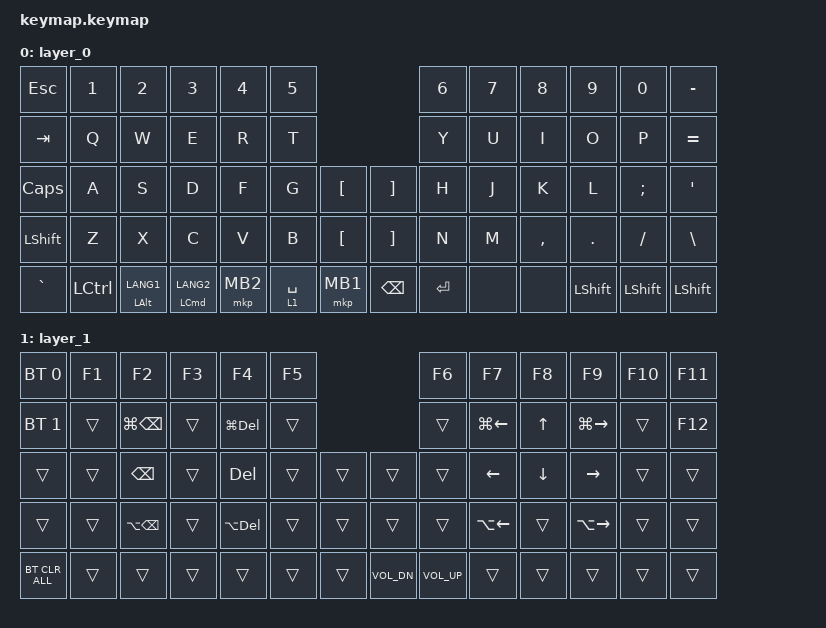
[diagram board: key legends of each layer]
#include <behaviors.dtsi>
#include <dt-bindings/zmk/bt.h>
#include <dt-bindings/zmk/keys.h>
#include <dt-bindings/zmk/pointing.h>

/ {
    combos {
        compatible = "zmk,combos";

        bt_clear {
            bindings = <&bt BT_CLR>;
            key-positions = <28 29>;
        };
    };

    keymap {
        compatible = "zmk,keymap";

        layer_0 {
            bindings = <
&kp ESC    &kp N1     &kp N2              &kp N3                  &kp N4    &kp N5                                            &kp N6     &kp N7  &kp N8     &kp N9          &kp N0          &kp MINUS
&kp TAB    &kp Q      &kp W               &kp E                   &kp R     &kp T                                             &kp Y      &kp U   &kp I      &kp O           &kp P           &kp EQUAL
&kp CAPS   &kp A      &kp S               &kp D                   &kp F     &kp G        &kp LEFT_BRACKET  &kp RIGHT_BRACKET  &kp H      &kp J   &kp K      &kp L           &kp SEMI        &kp SQT
&kp LSHFT  &kp Z      &kp X               &kp C                   &kp V     &kp B        &kp LEFT_BRACKET  &kp RIGHT_BRACKET  &kp N      &kp M   &kp COMMA  &kp DOT         &kp SLASH       &kp BACKSLASH
&kp GRAVE  &kp LCTRL  &mt LEFT_ALT LANG1  &mt LEFT_COMMAND LANG2  &mkp MB2  &lt 1 SPACE  &mkp MB1          &kp BACKSPACE      &kp ENTER  &none   &none      &kp LEFT_SHIFT  &kp LEFT_SHIFT  &kp LEFT_SHIFT
            >;
        };

        layer_1 {
            bindings = <
&bt BT_SEL 0    &kp F1  &kp F2             &kp F3  &kp F4       &kp F5                        &kp F6        &kp F7              &kp F8          &kp F9               &kp F10  &kp F11
&bt BT_SEL 1    &trans  &kp LG(BACKSPACE)  &trans  &kp LG(DEL)  &trans                        &trans        &kp LG(LEFT_ARROW)  &kp UP_ARROW    &kp LG(RIGHT_ARROW)  &trans   &kp F12
&trans          &trans  &kp BACKSPACE      &trans  &kp DEL      &trans  &trans  &trans        &trans        &kp LEFT_ARROW      &kp DOWN_ARROW  &kp RIGHT_ARROW      &trans   &trans
&trans          &trans  &kp LA(BACKSPACE)  &trans  &kp LA(DEL)  &trans  &trans  &trans        &trans        &kp LA(LEFT_ARROW)  &trans          &kp LA(RIGHT_ARROW)  &trans   &trans
&bt BT_CLR_ALL  &trans  &trans             &trans  &trans       &trans  &trans  &kp C_VOL_DN  &kp C_VOL_UP  &trans              &trans          &trans               &trans   &trans
            >;
        };
    };
};
